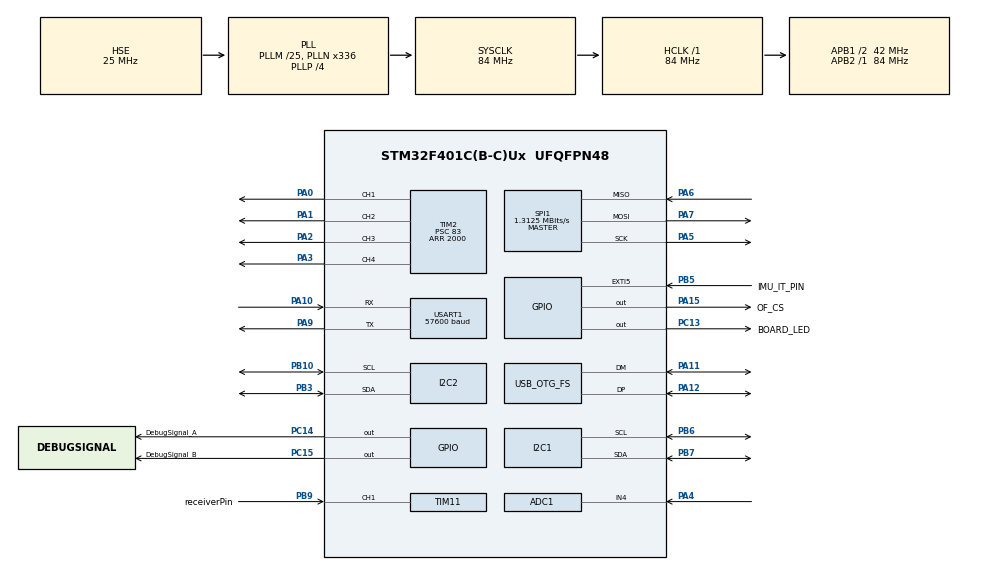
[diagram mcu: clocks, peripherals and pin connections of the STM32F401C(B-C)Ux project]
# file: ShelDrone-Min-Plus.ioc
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ADC1.Channel-2\#ChannelRegularConversion=ADC_CHANNEL_4
ADC1.NbrOfConversion=1
ADC1.NbrOfConversionFlag=1
ADC1.Rank-2\#ChannelRegularConversion=1
ADC1.SamplingTime-2\#ChannelRegularConversion=ADC_SAMPLETIME_3CYCLES
ADC1.master=1
Dma.I2C1_RX.0.Direction=DMA_PERIPH_TO_MEMORY
Dma.I2C1_RX.0.FIFOMode=DMA_FIFOMODE_DISABLE
Dma.I2C1_RX.0.Instance=DMA1_Stream0
Dma.I2C1_RX.0.MemDataAlignment=DMA_MDATAALIGN_BYTE
Dma.I2C1_RX.0.MemInc=DMA_MINC_ENABLE
Dma.I2C1_RX.0.Mode=DMA_NORMAL
Dma.I2C1_RX.0.PeriphDataAlignment=DMA_PDATAALIGN_BYTE
Dma.I2C1_RX.0.PeriphInc=DMA_PINC_DISABLE
Dma.I2C1_RX.0.Priority=DMA_PRIORITY_LOW
Dma.I2C1_TX.1.Direction=DMA_MEMORY_TO_PERIPH
Dma.I2C1_TX.1.FIFOMode=DMA_FIFOMODE_DISABLE
Dma.I2C1_TX.1.Instance=DMA1_Stream6
Dma.I2C1_TX.1.MemDataAlignment=DMA_MDATAALIGN_BYTE
Dma.I2C1_TX.1.MemInc=DMA_MINC_ENABLE
Dma.I2C1_TX.1.Mode=DMA_NORMAL
Dma.I2C1_TX.1.PeriphDataAlignment=DMA_PDATAALIGN_BYTE
Dma.I2C1_TX.1.PeriphInc=DMA_PINC_DISABLE
Dma.I2C1_TX.1.Priority=DMA_PRIORITY_LOW
Dma.Request0=I2C1_RX
Dma.Request1=I2C1_TX
Dma.Request2=USART1_RX
Dma.Request3=USART1_TX
Dma.USART1_RX.2.Direction=DMA_PERIPH_TO_MEMORY
Dma.USART1_RX.2.FIFOMode=DMA_FIFOMODE_DISABLE
Dma.USART1_RX.2.Instance=DMA2_Stream2
Dma.USART1_RX.2.MemDataAlignment=DMA_MDATAALIGN_BYTE
Dma.USART1_RX.2.MemInc=DMA_MINC_ENABLE
Dma.USART1_RX.2.Mode=DMA_NORMAL
Dma.USART1_RX.2.PeriphDataAlignment=DMA_PDATAALIGN_BYTE
Dma.USART1_RX.2.PeriphInc=DMA_PINC_DISABLE
Dma.USART1_RX.2.Priority=DMA_PRIORITY_LOW
Dma.USART1_TX.3.Direction=DMA_MEMORY_TO_PERIPH
Dma.USART1_TX.3.FIFOMode=DMA_FIFOMODE_DISABLE
Dma.USART1_TX.3.Instance=DMA2_Stream7
Dma.USART1_TX.3.MemDataAlignment=DMA_MDATAALIGN_BYTE
Dma.USART1_TX.3.MemInc=DMA_MINC_ENABLE
Dma.USART1_TX.3.Mode=DMA_NORMAL
Dma.USART1_TX.3.PeriphDataAlignment=DMA_PDATAALIGN_BYTE
Dma.USART1_TX.3.PeriphInc=DMA_PINC_DISABLE
Dma.USART1_TX.3.Priority=DMA_PRIORITY_LOW
FREERTOS.Tasks01=mainControlTask,48,256,StartMainControlTask,Default,NULL,Dynamic,NULL,NULL;sensor,8,1024,sensorTask,Default,NULL,Dynamic,NULL,NULL;watchDogTask,8,128,startWatchDogTask,Default,NULL,Dynamic,NULL,NULL
FREERTOS.configUSE_NEWLIB_REENTRANT=1
I2C1.I2C_Mode=I2C_Fast
I2C2.I2C_Mode=I2C_Fast
Mcu.Family=STM32F4
Mcu.Name=STM32F401C(B-C)Ux
Mcu.Package=UFQFPN48
NVIC.DMA1_Stream0_IRQn=true\:5\:0\:false\:false\:true\:true\:false\:true
NVIC.DMA1_Stream6_IRQn=true\:5\:0\:false\:false\:true\:true\:false\:true
NVIC.DMA2_Stream2_IRQn=true\:5\:0\:false\:false\:true\:true\:false\:true
NVIC.DMA2_Stream7_IRQn=true\:5\:0\:false\:false\:true\:true\:false\:true
NVIC.EXTI9_5_IRQn=true\:5\:0\:false\:false\:true\:true\:true\:true
NVIC.I2C2_ER_IRQn=true\:5\:0\:false\:false\:true\:true\:true\:true
NVIC.I2C2_EV_IRQn=true\:5\:0\:false\:false\:true\:true\:true\:true
NVIC.OTG_FS_IRQn=true\:5\:0\:false\:false\:true\:true\:false\:true
NVIC.PriorityGroup=NVIC_PRIORITYGROUP_4
NVIC.TIM1_TRG_COM_TIM11_IRQn=true\:5\:0\:false\:false\:true\:true\:true\:true
NVIC.TIM1_UP_TIM10_IRQn=true\:0\:0\:false\:false\:true\:false\:false\:true
NVIC.TimeBase=TIM1_UP_TIM10_IRQn
NVIC.TimeBaseIP=TIM10
NVIC.USART1_IRQn=true\:5\:0\:false\:false\:true\:true\:true\:true
PA0-WKUP.Signal=S_TIM2_CH1_ETR
PA1.Signal=S_TIM2_CH2
PA10.Mode=Asynchronous
PA10.Signal=USART1_RX
PA11.Mode=Device_Only
PA11.Signal=USB_OTG_FS_DM
PA12.Mode=Device_Only
PA12.Signal=USB_OTG_FS_DP
PA13.Mode=Serial_Wire
PA13.Signal=SYS_JTMS-SWDIO
PA14.Mode=Serial_Wire
PA14.Signal=SYS_JTCK-SWCLK
PA15.GPIO_Label=OF_CS
PA15.Signal=GPIO_Output
PA2.Signal=S_TIM2_CH3
PA3.Signal=S_TIM2_CH4
PA4.Signal=ADCx_IN4
PA5.Mode=Full_Duplex_Master
PA5.Signal=SPI1_SCK
PA6.Mode=Full_Duplex_Master
PA6.Signal=SPI1_MISO
PA7.Mode=Full_Duplex_Master
PA7.Signal=SPI1_MOSI
PA9.Mode=Asynchronous
PA9.Signal=USART1_TX
PB10.Mode=I2C
PB10.Signal=I2C2_SCL
PB3.Mode=I2C
PB3.Signal=I2C2_SDA
PB5.GPIO_Label=IMU_IT_PIN
PB5.Signal=GPXTI5
PB6.GPIO_Pu=GPIO_PULLUP
PB6.Mode=I2C
PB6.Signal=I2C1_SCL
PB7.GPIO_Pu=GPIO_PULLUP
PB7.Mode=I2C
PB7.Signal=I2C1_SDA
PB9.GPIO_Label=receiverPin
PB9.Signal=S_TIM11_CH1
PC13-ANTI_TAMP.GPIO_Label=BOARD_LED
PC13-ANTI_TAMP.Signal=GPIO_Output
PC14-OSC32_IN.GPIO_Label=DebugSignal_A
PC14-OSC32_IN.PinState=GPIO_PIN_SET
PC14-OSC32_IN.Signal=GPIO_Output
PC15-OSC32_OUT.GPIO_Label=DebugSignal_B
PC15-OSC32_OUT.PinState=GPIO_PIN_SET
PC15-OSC32_OUT.Signal=GPIO_Output
PH0\ -\ OSC_IN.Mode=HSE-External-Oscillator
PH0\ -\ OSC_IN.Signal=RCC_OSC_IN
PH1\ -\ OSC_OUT.Mode=HSE-External-Oscillator
PH1\ -\ OSC_OUT.Signal=RCC_OSC_OUT
ProjectManager.HeapSize=0x2000
ProjectManager.StackSize=0x4000
ProjectManager.TargetToolchain=STM32CubeIDE
RCC.48MHZClocksFreq_Value=48000000
RCC.AHBFreq_Value=84000000
RCC.APB1CLKDivider=RCC_HCLK_DIV2
RCC.APB1Freq_Value=42000000
RCC.APB1TimFreq_Value=84000000
RCC.APB2Freq_Value=84000000
RCC.APB2TimFreq_Value=84000000
RCC.CortexFreq_Value=84000000
RCC.HCLKFreq_Value=84000000
RCC.HSE_VALUE=25000000
RCC.HSI_VALUE=16000000
RCC.LSE_VALUE=32768
RCC.PLLM=25
RCC.PLLN=336
RCC.PLLP=RCC_PLLP_DIV4
RCC.PLLQ=7
RCC.RCC_RTC_Clock_Source=RCC_RTCCLKSOURCE_LSI
RCC.RCC_RTC_Clock_SourceVirtual=RCC_RTCCLKSOURCE_LSI
RCC.SYSCLKFreq_VALUE=84000000
RCC.SYSCLKSource=RCC_SYSCLKSOURCE_PLLCLK
RCC.VCOOutputFreq_Value=336000000
SH.ADCx_IN4.0=ADC1_IN4,IN4
SH.S_TIM11_CH1.0=TIM11_CH1,Input_Capture1_from_TI1
SH.S_TIM2_CH1_ETR.0=TIM2_CH1,PWM Generation1 CH1
SH.S_TIM2_CH2.0=TIM2_CH2,PWM Generation2 CH2
SH.S_TIM2_CH3.0=TIM2_CH3,PWM Generation3 CH3
SH.S_TIM2_CH4.0=TIM2_CH4,PWM Generation4 CH4
SPI1.BaudRatePrescaler=SPI_BAUDRATEPRESCALER_64
SPI1.CalculateBaudRate=1.3125 MBits/s
SPI1.Direction=SPI_DIRECTION_2LINES
SPI1.Mode=SPI_MODE_MASTER
SPI1.VirtualType=VM_MASTER
TIM11.Channel=TIM_CHANNEL_1
TIM11.Prescaler=83
TIM2.AutoReloadPreload=TIM_AUTORELOAD_PRELOAD_DISABLE
TIM2.Channel-PWM\ Generation1\ CH1=TIM_CHANNEL_1
TIM2.Channel-PWM\ Generation2\ CH2=TIM_CHANNEL_2
TIM2.Channel-PWM\ Generation3\ CH3=TIM_CHANNEL_3
TIM2.Channel-PWM\ Generation4\ CH4=TIM_CHANNEL_4
TIM2.Period=2000
TIM2.Prescaler=83
TIM2.Pulse-PWM\ Generation1\ CH1=1000
TIM2.Pulse-PWM\ Generation2\ CH2=1000
TIM2.Pulse-PWM\ Generation3\ CH3=1000
TIM2.Pulse-PWM\ Generation4\ CH4=1000
USART1.BaudRate=57600
USART1.VirtualMode=VM_ASYNC
USB_DEVICE.CLASS_NAME_FS=CDC
USB_DEVICE.PRODUCT_STRING_CDC_FS=TinyDrone
USB_DEVICE.VirtualMode=Cdc
USB_DEVICE.VirtualModeFS=Cdc_FS
USB_OTG_FS.VirtualMode=Device_Only
VP_FREERTOS_VS_CMSIS_V2.Mode=CMSIS_V2
VP_SYS_VS_tim10.Mode=TIM10
VP_TIM11_VS_ClockSourceINT.Mode=Enable_Timer
VP_TIM2_VS_ClockSourceINT.Mode=Internal
VP_USB_DEVICE_VS_USB_DEVICE_CDC_FS.Mode=CDC_FS
board=custom

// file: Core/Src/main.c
/* USER CODE BEGIN Header */
/**
  ******************************************************************************
  * @file           : main.c
  * @brief          : Main program body
  ******************************************************************************
  * @attention
  *
  * <h2><center>&copy; Copyright (c) 2021 STMicroelectronics.
  * All rights reserved.</center></h2>
  *
  * This software component is licensed by ST under Ultimate Liberty license
  * SLA0044, the "License"; You may not use this file except in compliance with
  * the License. You may obtain a copy of the License at:
  *                             www.st.com/SLA0044
  *
  ******************************************************************************
  */
/* USER CODE END Header */
#include "main.h"
#include "cmsis_os.h"
#include "usb_device.h"
#include "usb_device.h"

/* USER CODE BEGIN Includes */
#include <stabilizer.h>
#include <sensors.h>
#include <error.h>
#include <battery.h>
#include <receiver.h>
#include <pid_process.h>
#include <motor.h>
#include <transmit.h>
/* USER CODE END Includes */

ADC_HandleTypeDef hadc1;

I2C_HandleTypeDef hi2c1;
I2C_HandleTypeDef hi2c2;
DMA_HandleTypeDef hdma_i2c1_rx;
DMA_HandleTypeDef hdma_i2c1_tx;

SPI_HandleTypeDef hspi1;

TIM_HandleTypeDef htim2;
TIM_HandleTypeDef htim11;

UART_HandleTypeDef huart1;
DMA_HandleTypeDef hdma_usart1_rx;
DMA_HandleTypeDef hdma_usart1_tx;

/* Definitions for mainControlTask */
osThreadId_t mainControlTaskHandle;
const osThreadAttr_t mainControlTask_attributes = {
  .name = "mainControlTask",
  .stack_size = 256 * 4,
  .priority = (osPriority_t) osPriorityRealtime,
};
/* Definitions for sensor */
osThreadId_t sensorHandle;
const osThreadAttr_t sensor_attributes = {
  .name = "sensor",
  .stack_size = 1024 * 4,
  .priority = (osPriority_t) osPriorityLow,
};
/* Definitions for watchDogTask */
osThreadId_t watchDogTaskHandle;
const osThreadAttr_t watchDogTask_attributes = {
  .name = "watchDogTask",
  .stack_size = 128 * 4,
  .priority = (osPriority_t) osPriorityLow,
};

void SystemClock_Config(void);
static void MX_GPIO_Init(void);
static void MX_DMA_Init(void);
static void MX_I2C1_Init(void);
static void MX_TIM2_Init(void);
static void MX_TIM11_Init(void);
static void MX_USART1_UART_Init(void);
static void MX_I2C2_Init(void);
static void MX_SPI1_Init(void);
static void MX_ADC1_Init(void);
void StartMainControlTask(void *argument);
void sensorTask(void *argument);
void startWatchDogTask(void *argument);

int main(void)
{

  /* MCU Configuration--------------------------------------------------------*/

  /* Reset of all peripherals, Initializes the Flash interface and the Systick. */
  HAL_Init();

  /* Configure the system clock */
  SystemClock_Config();

  /* Initialize all configured peripherals */
  MX_GPIO_Init();
  MX_DMA_Init();
  MX_I2C1_Init();
  MX_TIM2_Init();
  MX_TIM11_Init();
  MX_USART1_UART_Init();
  MX_I2C2_Init();
  MX_SPI1_Init();
  MX_ADC1_Init();
  /* USER CODE BEGIN 2 */
  HAL_TIM_PWM_Start(&htim2, TIM_CHANNEL_1);
  HAL_TIM_PWM_Start(&htim2, TIM_CHANNEL_2);
  HAL_TIM_PWM_Start(&htim2, TIM_CHANNEL_3);
  HAL_TIM_PWM_Start(&htim2, TIM_CHANNEL_4);
  /* USER CODE END 2 */

  /* Init scheduler */
  osKernelInitialize();

  /* Create the thread(s) */
  /* creation of mainControlTask */
  mainControlTaskHandle = osThreadNew(StartMainControlTask, NULL, &mainControlTask_attributes);

  /* creation of sensor */
  sensorHandle = osThreadNew(sensorTask, NULL, &sensor_attributes);

  /* creation of watchDogTask */
  watchDogTaskHandle = osThreadNew(startWatchDogTask, NULL, &watchDogTask_attributes);

  /* Start scheduler */
  osKernelStart();

  /* We should never get here as control is now taken by the scheduler */
  /* Infinite loop */
  while (1)
  {

  }
}

void SystemClock_Config(void)
{
  RCC_OscInitTypeDef RCC_OscInitStruct = {0};
  RCC_ClkInitTypeDef RCC_ClkInitStruct = {0};

  /** Configure the main internal regulator output voltage
  */
  __HAL_RCC_PWR_CLK_ENABLE();
  __HAL_PWR_VOLTAGESCALING_CONFIG(PWR_REGULATOR_VOLTAGE_SCALE2);
  /** Initializes the RCC Oscillators according to the specified parameters
  * in the RCC_OscInitTypeDef structure.
  */
  RCC_OscInitStruct.OscillatorType = RCC_OSCILLATORTYPE_HSE;
  RCC_OscInitStruct.HSEState = RCC_HSE_ON;
  RCC_OscInitStruct.PLL.PLLState = RCC_PLL_ON;
  RCC_OscInitStruct.PLL.PLLSource = RCC_PLLSOURCE_HSE;
  RCC_OscInitStruct.PLL.PLLM = 25;
  RCC_OscInitStruct.PLL.PLLN = 336;
  RCC_OscInitStruct.PLL.PLLP = RCC_PLLP_DIV4;
  RCC_OscInitStruct.PLL.PLLQ = 7;
  if (HAL_RCC_OscConfig(&RCC_OscInitStruct) != HAL_OK)
  {
    Error_Handler();
  }
  /** Initializes the CPU, AHB and APB buses clocks
  */
  RCC_ClkInitStruct.ClockType = RCC_CLOCKTYPE_HCLK|RCC_CLOCKTYPE_SYSCLK
                              |RCC_CLOCKTYPE_PCLK1|RCC_CLOCKTYPE_PCLK2;
  RCC_ClkInitStruct.SYSCLKSource = RCC_SYSCLKSOURCE_PLLCLK;
  RCC_ClkInitStruct.AHBCLKDivider = RCC_SYSCLK_DIV1;
  RCC_ClkInitStruct.APB1CLKDivider = RCC_HCLK_DIV2;
  RCC_ClkInitStruct.APB2CLKDivider = RCC_HCLK_DIV1;

  if (HAL_RCC_ClockConfig(&RCC_ClkInitStruct, FLASH_LATENCY_2) != HAL_OK)
  {
    Error_Handler();
  }
}

static void MX_ADC1_Init(void)
{

  ADC_ChannelConfTypeDef sConfig = {0};

  /** Configure the global features of the ADC (Clock, Resolution, Data Alignment and number of conversion)
  */
  hadc1.Instance = ADC1;
  hadc1.Init.ClockPrescaler = ADC_CLOCK_SYNC_PCLK_DIV4;
  hadc1.Init.Resolution = ADC_RESOLUTION_12B;
  hadc1.Init.ScanConvMode = DISABLE;
  hadc1.Init.ContinuousConvMode = DISABLE;
  hadc1.Init.DiscontinuousConvMode = DISABLE;
  hadc1.Init.ExternalTrigConvEdge = ADC_EXTERNALTRIGCONVEDGE_NONE;
  hadc1.Init.ExternalTrigConv = ADC_SOFTWARE_START;
  hadc1.Init.DataAlign = ADC_DATAALIGN_RIGHT;
  hadc1.Init.NbrOfConversion = 1;
  hadc1.Init.DMAContinuousRequests = DISABLE;
  hadc1.Init.EOCSelection = ADC_EOC_SINGLE_CONV;
  if (HAL_ADC_Init(&hadc1) != HAL_OK)
  {
    Error_Handler();
  }
  /** Configure for the selected ADC regular channel its corresponding rank in the sequencer and its sample time.
  */
  sConfig.Channel = ADC_CHANNEL_4;
  sConfig.Rank = 1;
  sConfig.SamplingTime = ADC_SAMPLETIME_3CYCLES;
  if (HAL_ADC_ConfigChannel(&hadc1, &sConfig) != HAL_OK)
  {
    Error_Handler();
  }

}

static void MX_I2C1_Init(void)
{

  hi2c1.Instance = I2C1;
  hi2c1.Init.ClockSpeed = 400000;
  hi2c1.Init.DutyCycle = I2C_DUTYCYCLE_2;
  hi2c1.Init.OwnAddress1 = 0;
  hi2c1.Init.AddressingMode = I2C_ADDRESSINGMODE_7BIT;
  hi2c1.Init.DualAddressMode = I2C_DUALADDRESS_DISABLE;
  hi2c1.Init.OwnAddress2 = 0;
  hi2c1.Init.GeneralCallMode = I2C_GENERALCALL_DISABLE;
  hi2c1.Init.NoStretchMode = I2C_NOSTRETCH_DISABLE;
  if (HAL_I2C_Init(&hi2c1) != HAL_OK)
  {
    Error_Handler();
  }

}

static void MX_I2C2_Init(void)
{

  hi2c2.Instance = I2C2;
  hi2c2.Init.ClockSpeed = 400000;
  hi2c2.Init.DutyCycle = I2C_DUTYCYCLE_2;
  hi2c2.Init.OwnAddress1 = 0;
  hi2c2.Init.AddressingMode = I2C_ADDRESSINGMODE_7BIT;
  hi2c2.Init.DualAddressMode = I2C_DUALADDRESS_DISABLE;
  hi2c2.Init.OwnAddress2 = 0;
  hi2c2.Init.GeneralCallMode = I2C_GENERALCALL_DISABLE;
  hi2c2.Init.NoStretchMode = I2C_NOSTRETCH_DISABLE;
  if (HAL_I2C_Init(&hi2c2) != HAL_OK)
  {
    Error_Handler();
  }

}

static void MX_SPI1_Init(void)
{

  /* SPI1 parameter configuration*/
  hspi1.Instance = SPI1;
  hspi1.Init.Mode = SPI_MODE_MASTER;
  hspi1.Init.Direction = SPI_DIRECTION_2LINES;
  hspi1.Init.DataSize = SPI_DATASIZE_8BIT;
  hspi1.Init.CLKPolarity = SPI_POLARITY_LOW;
  hspi1.Init.CLKPhase = SPI_PHASE_1EDGE;
  hspi1.Init.NSS = SPI_NSS_SOFT;
  hspi1.Init.BaudRatePrescaler = SPI_BAUDRATEPRESCALER_64;
  hspi1.Init.FirstBit = SPI_FIRSTBIT_MSB;
  hspi1.Init.TIMode = SPI_TIMODE_DISABLE;
  hspi1.Init.CRCCalculation = SPI_CRCCALCULATION_DISABLE;
  hspi1.Init.CRCPolynomial = 10;
  if (HAL_SPI_Init(&hspi1) != HAL_OK)
  {
    Error_Handler();
  }

}

static void MX_TIM2_Init(void)
{

  TIM_ClockConfigTypeDef sClockSourceConfig = {0};
  TIM_MasterConfigTypeDef sMasterConfig = {0};
  TIM_OC_InitTypeDef sConfigOC = {0};

  htim2.Instance = TIM2;
  htim2.Init.Prescaler = 83;
  htim2.Init.CounterMode = TIM_COUNTERMODE_UP;
  htim2.Init.Period = 2000;
  htim2.Init.ClockDivision = TIM_CLOCKDIVISION_DIV1;
  htim2.Init.AutoReloadPreload = TIM_AUTORELOAD_PRELOAD_DISABLE;
  if (HAL_TIM_Base_Init(&htim2) != HAL_OK)
  {
    Error_Handler();
  }
  sClockSourceConfig.ClockSource = TIM_CLOCKSOURCE_INTERNAL;
  if (HAL_TIM_ConfigClockSource(&htim2, &sClockSourceConfig) != HAL_OK)
  {
    Error_Handler();
  }
  if (HAL_TIM_PWM_Init(&htim2) != HAL_OK)
  {
    Error_Handler();
  }
  sMasterConfig.MasterOutputTrigger = TIM_TRGO_RESET;
  sMasterConfig.MasterSlaveMode = TIM_MASTERSLAVEMODE_DISABLE;
  if (HAL_TIMEx_MasterConfigSynchronization(&htim2, &sMasterConfig) != HAL_OK)
  {
    Error_Handler();
  }
  sConfigOC.OCMode = TIM_OCMODE_PWM1;
  sConfigOC.Pulse = 1000;
  sConfigOC.OCPolarity = TIM_OCPOLARITY_HIGH;
  sConfigOC.OCFastMode = TIM_OCFAST_DISABLE;
  if (HAL_TIM_PWM_ConfigChannel(&htim2, &sConfigOC, TIM_CHANNEL_1) != HAL_OK)
  {
    Error_Handler();
  }
  if (HAL_TIM_PWM_ConfigChannel(&htim2, &sConfigOC, TIM_CHANNEL_2) != HAL_OK)
  {
    Error_Handler();
  }
  if (HAL_TIM_PWM_ConfigChannel(&htim2, &sConfigOC, TIM_CHANNEL_3) != HAL_OK)
  {
    Error_Handler();
  }
  if (HAL_TIM_PWM_ConfigChannel(&htim2, &sConfigOC, TIM_CHANNEL_4) != HAL_OK)
  {
    Error_Handler();
  }
  HAL_TIM_MspPostInit(&htim2);

}

static void MX_TIM11_Init(void)
{

  TIM_IC_InitTypeDef sConfigIC = {0};

  htim11.Instance = TIM11;
  htim11.Init.Prescaler = 83;
  htim11.Init.CounterMode = TIM_COUNTERMODE_UP;
  htim11.Init.Period = 65535;
  htim11.Init.ClockDivision = TIM_CLOCKDIVISION_DIV1;
  htim11.Init.AutoReloadPreload = TIM_AUTORELOAD_PRELOAD_DISABLE;
  if (HAL_TIM_Base_Init(&htim11) != HAL_OK)
  {
    Error_Handler();
  }
  if (HAL_TIM_IC_Init(&htim11) != HAL_OK)
  {
    Error_Handler();
  }
  sConfigIC.ICPolarity = TIM_INPUTCHANNELPOLARITY_RISING;
  sConfigIC.ICSelection = TIM_ICSELECTION_DIRECTTI;
  sConfigIC.ICPrescaler = TIM_ICPSC_DIV1;
  sConfigIC.ICFilter = 0;
  if (HAL_TIM_IC_ConfigChannel(&htim11, &sConfigIC, TIM_CHANNEL_1) != HAL_OK)
  {
    Error_Handler();
  }
  /* USER CODE BEGIN TIM11_Init 2 */
  HAL_TIM_IC_Start_IT(&htim11, TIM_CHANNEL_1);
  /* USER CODE END TIM11_Init 2 */

}

static void MX_USART1_UART_Init(void)
{

  huart1.Instance = USART1;
  huart1.Init.BaudRate = 57600;
  huart1.Init.WordLength = UART_WORDLENGTH_8B;
  huart1.Init.StopBits = UART_STOPBITS_1;
  huart1.Init.Parity = UART_PARITY_NONE;
  huart1.Init.Mode = UART_MODE_TX_RX;
  huart1.Init.HwFlowCtl = UART_HWCONTROL_NONE;
  huart1.Init.OverSampling = UART_OVERSAMPLING_16;
  if (HAL_UART_Init(&huart1) != HAL_OK)
  {
    Error_Handler();
  }

}

static void MX_DMA_Init(void)
{

  /* DMA controller clock enable */
  __HAL_RCC_DMA1_CLK_ENABLE();
  __HAL_RCC_DMA2_CLK_ENABLE();

  /* DMA interrupt init */
  /* DMA1_Stream0_IRQn interrupt configuration */
  HAL_NVIC_SetPriority(DMA1_Stream0_IRQn, 5, 0);
  HAL_NVIC_EnableIRQ(DMA1_Stream0_IRQn);
  /* DMA1_Stream6_IRQn interrupt configuration */
  HAL_NVIC_SetPriority(DMA1_Stream6_IRQn, 5, 0);
  HAL_NVIC_EnableIRQ(DMA1_Stream6_IRQn);
  /* DMA2_Stream2_IRQn interrupt configuration */
  HAL_NVIC_SetPriority(DMA2_Stream2_IRQn, 5, 0);
  HAL_NVIC_EnableIRQ(DMA2_Stream2_IRQn);
  /* DMA2_Stream7_IRQn interrupt configuration */
  HAL_NVIC_SetPriority(DMA2_Stream7_IRQn, 5, 0);
  HAL_NVIC_EnableIRQ(DMA2_Stream7_IRQn);

}

static void MX_GPIO_Init(void)
{
  GPIO_InitTypeDef GPIO_InitStruct = {0};

  /* GPIO Ports Clock Enable */
  __HAL_RCC_GPIOC_CLK_ENABLE();
  __HAL_RCC_GPIOH_CLK_ENABLE();
  __HAL_RCC_GPIOA_CLK_ENABLE();
  __HAL_RCC_GPIOB_CLK_ENABLE();

  /*Configure GPIO pin Output Level */
  HAL_GPIO_WritePin(BOARD_LED_GPIO_Port, BOARD_LED_Pin, GPIO_PIN_RESET);

  /*Configure GPIO pin Output Level */
  HAL_GPIO_WritePin(GPIOC, DebugSignal_A_Pin|DebugSignal_B_Pin, GPIO_PIN_SET);

  /*Configure GPIO pin Output Level */
  HAL_GPIO_WritePin(OF_CS_GPIO_Port, OF_CS_Pin, GPIO_PIN_RESET);

  /*Configure GPIO pins : BOARD_LED_Pin DebugSignal_A_Pin DebugSignal_B_Pin */
  GPIO_InitStruct.Pin = BOARD_LED_Pin|DebugSignal_A_Pin|DebugSignal_B_Pin;
  GPIO_InitStruct.Mode = GPIO_MODE_OUTPUT_PP;
  GPIO_InitStruct.Pull = GPIO_NOPULL;
  GPIO_InitStruct.Speed = GPIO_SPEED_FREQ_LOW;
  HAL_GPIO_Init(GPIOC, &GPIO_InitStruct);

  /*Configure GPIO pin : OF_CS_Pin */
  GPIO_InitStruct.Pin = OF_CS_Pin;
  GPIO_InitStruct.Mode = GPIO_MODE_OUTPUT_PP;
  GPIO_InitStruct.Pull = GPIO_NOPULL;
  GPIO_InitStruct.Speed = GPIO_SPEED_FREQ_LOW;
  HAL_GPIO_Init(OF_CS_GPIO_Port, &GPIO_InitStruct);

  /*Configure GPIO pin : IMU_IT_PIN_Pin */
  GPIO_InitStruct.Pin = IMU_IT_PIN_Pin;
  GPIO_InitStruct.Mode = GPIO_MODE_IT_RISING;
  GPIO_InitStruct.Pull = GPIO_NOPULL;
  HAL_GPIO_Init(IMU_IT_PIN_GPIO_Port, &GPIO_InitStruct);

  /* EXTI interrupt init*/
  HAL_NVIC_SetPriority(EXTI9_5_IRQn, 5, 0);
  HAL_NVIC_EnableIRQ(EXTI9_5_IRQn);

}

/* USER CODE BEGIN 4 */
void HAL_GPIO_EXTI_Callback(uint16_t GPIO_Pin){
	sensorsRead();
}
/* USER CODE END 4 */

void StartMainControlTask(void *argument)
{
  /* init code for USB_DEVICE */
  MX_USB_DEVICE_Init();
  droneStatusInit();
  motorInit(&htim2,&channels[THROTTLE]);
  stabilizerTaskInit();
  /* USER CODE BEGIN 5 */
  /* Infinite loop */
  for(;;)
  {
    osDelay(4);
    detectDroneStatus();
//    pidProcess();
    stabilizerTask();
    setMotors3D(pid_pitch_speed.out,
				pid_roll_speed.out,
				pid_yaw_speed.out);
  }
  /* USER CODE END 5 */
}

void sensorTask(void *argument)
{
  /* USER CODE BEGIN sensorTask */
	osDelay(500);
	sensorsInit(&hi2c1);
  /* Infinite loop */
  for(;;)
  {
    osDelay(1000);
  }
  /* USER CODE END sensorTask */
}

void startWatchDogTask(void *argument)
{
  /* USER CODE BEGIN startWatchDogTask */
	batteryInit(&hadc1);
	errorInit();
  /* Infinite loop */
  for(;;)
  {
	  watchBattery();
	  errorSignal();
	  transmitDebugData();
	  osDelay(LED_UNIT_PERIOD);
  }
  /* USER CODE END startWatchDogTask */
}

void HAL_TIM_PeriodElapsedCallback(TIM_HandleTypeDef *htim)
{
  if (htim->Instance == TIM10) {
    HAL_IncTick();
  }
}

void Error_Handler(void)
{
  __disable_irq();
  while (1)
  {
  }
}

/************************ (C) COPYRIGHT STMicroelectronics *****END OF FILE****/
